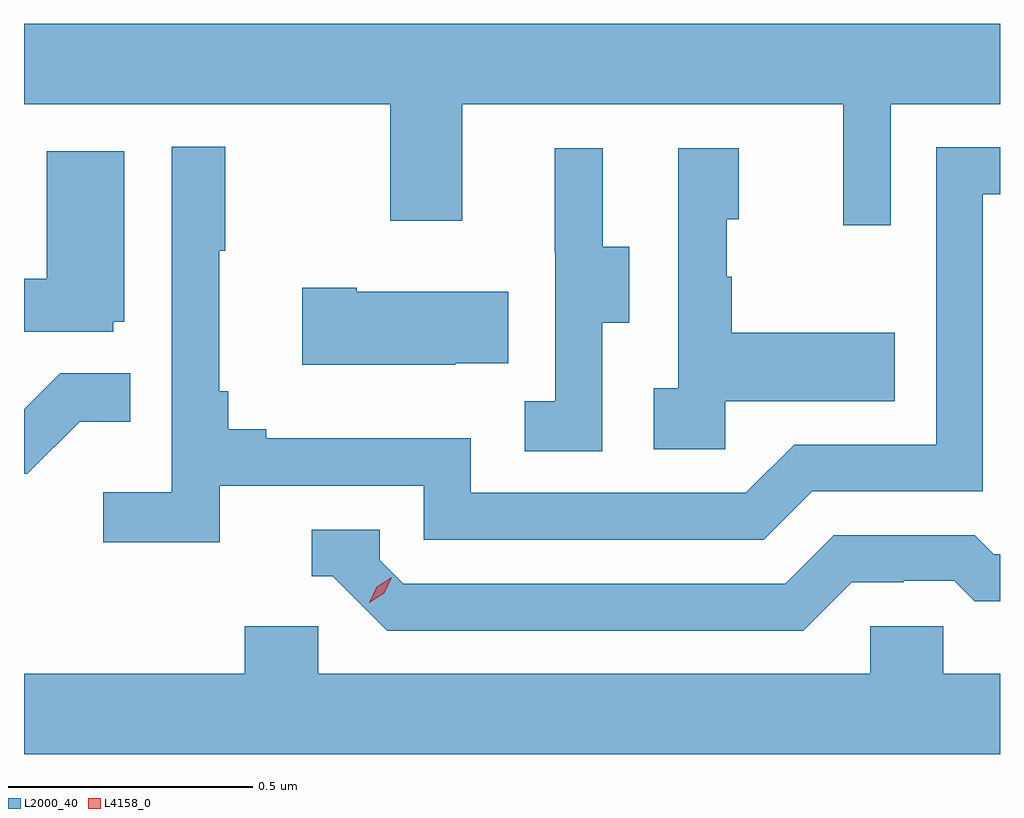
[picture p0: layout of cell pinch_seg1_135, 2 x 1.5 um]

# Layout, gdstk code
import gdstk
lib = gdstk.Library(unit=1e-6, precision=1e-09)
def P(c, l, *ps):  # polygons
    for p in ps: c.add(gdstk.Polygon(p, *l))
L2000_40 = (2000, 40)
L4158_0 = (4158, 0)

pinch_seg1_135 = lib.new_cell('pinch_seg1_135')
P(pinch_seg1_135, L2000_40, [(1060.845,553.064),(1061.069,553.064),(1061.069,553.228),(1059.069,553.228),(1059.069,553.064),(1059.82,553.064),(1059.82,552.825),(1059.967,552.825),(1059.967,553.064),(1060.748,553.064),(1060.748,552.816),(1060.845,552.816)],
  [(1059.47,552.282),(1059.888,552.282),(1059.888,552.171),(1060.585,552.171),(1060.684,552.27),(1061.034,552.27),(1061.034,552.879),(1061.069,552.879),(1061.069,552.975),(1060.938,552.975),(1060.938,552.366),(1060.647,552.366),(1060.548,552.267),(1059.984,552.267),(1059.984,552.379),(1059.565,552.379),(1059.565,552.398),(1059.488,552.398),(1059.488,552.475),(1059.469,552.475),(1059.469,552.763),(1059.481,552.763),(1059.481,552.976),(1059.372,552.976),(1059.372,552.268),(1059.231,552.268),(1059.231,552.166),(1059.47,552.166)],
  [(1060.254,552.616),(1060.309,552.616),(1060.309,552.771),(1060.255,552.771),(1060.255,552.973),(1060.157,552.973),(1060.157,552.759),(1060.158,552.759),(1060.158,552.455),(1060.095,552.455),(1060.095,552.352),(1060.254,552.352)],
  [(1060.506,552.455),(1060.853,552.455),(1060.853,552.595),(1060.519,552.595),(1060.519,552.71),(1060.509,552.71),(1060.509,552.828),(1060.534,552.828),(1060.534,552.973),(1060.41,552.973),(1060.41,552.482),(1060.359,552.482),(1060.359,552.357),(1060.506,552.357)],
  [(1059.252,552.618),(1059.274,552.618),(1059.274,552.967),(1059.116,552.967),(1059.116,552.706),(1059.069,552.706),(1059.069,552.597),(1059.252,552.597)],
  [(1059.953,552.533),(1060.061,552.533),(1060.061,552.679),(1059.751,552.679),(1059.751,552.687),(1059.639,552.687),(1059.639,552.53),(1059.953,552.53)],
  [(1059.183,552.413),(1059.287,552.413),(1059.287,552.512),(1059.143,552.512),(1059.069,552.438),(1059.069,552.306),(1059.076,552.306)],
  [(1060.765,552.084),(1060.872,552.084),(1060.872,552.087),(1060.975,552.087),(1061.017,552.045),(1061.069,552.045),(1061.069,552.141),(1061.056,552.141),(1061.017,552.18),(1060.728,552.18),(1060.629,552.081),(1059.846,552.081),(1059.798,552.129),(1059.798,552.192),(1059.659,552.192),(1059.659,552.096),(1059.702,552.096),(1059.813,551.985),(1060.666,551.985)],
  [(1061.069,551.896),(1060.953,551.896),(1060.953,551.994),(1060.803,551.994),(1060.803,551.896),(1059.672,551.896),(1059.672,551.994),(1059.521,551.994),(1059.521,551.896),(1059.069,551.896),(1059.069,551.732),(1061.069,551.732)])
P(pinch_seg1_135, L4158_0, [(1059.776,552.042),(1059.776,552.042),(1059.792,552.075),(1059.823,552.094),(1059.823,552.094),(1059.823,552.094),(1059.807,552.061),(1059.776,552.042)])

lib.write_gds('pinch_seg1_135.gds')
